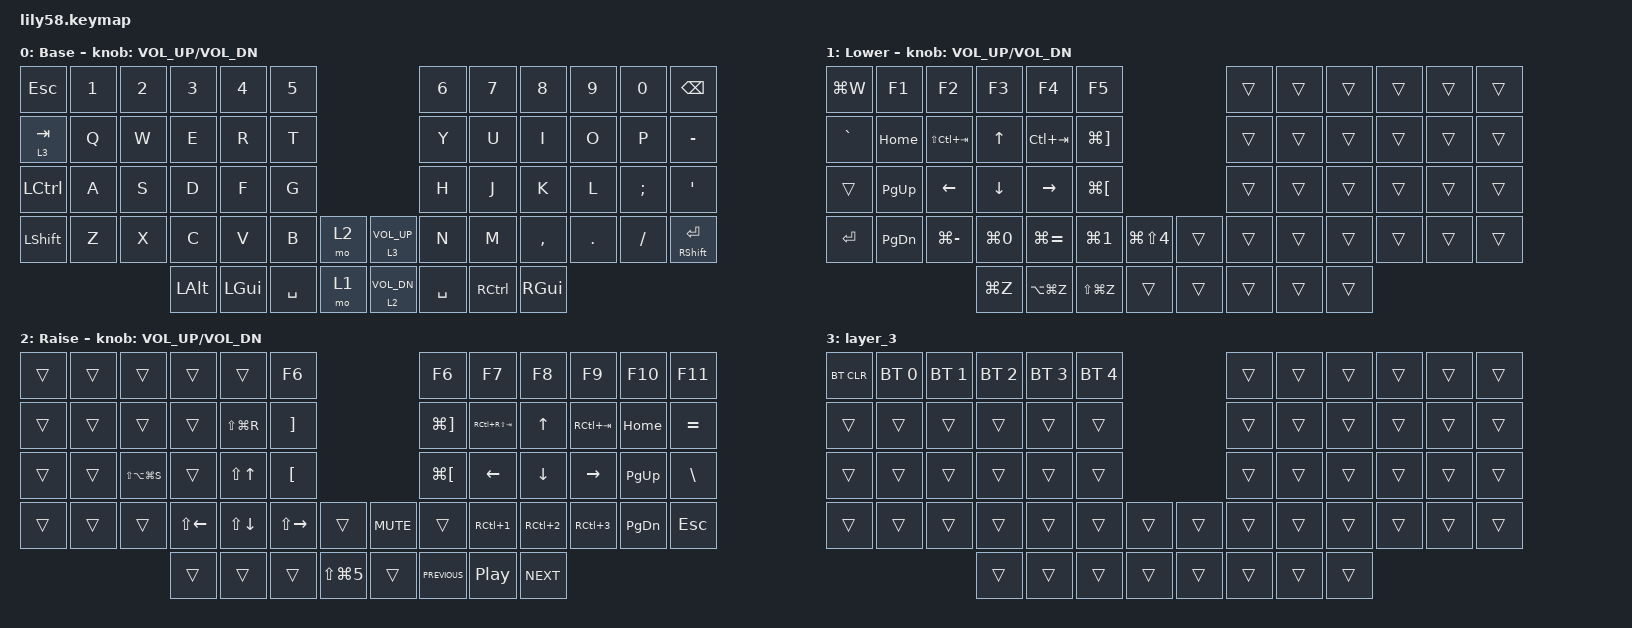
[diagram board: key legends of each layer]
/*
 * Copyright (c) 2020 The ZMK Contributors
 *
 * SPDX-License-Identifier: MIT
 */

#include <behaviors.dtsi>
#include <dt-bindings/zmk/bt.h>
#include <dt-bindings/zmk/keys.h>

/ {
    keymap {
        compatible = "zmk,keymap";

        default_layer {
            // ------------------------------------------------------------------------------------------------------------
            // |  ESC  |  1  |  2  |  3   |  4   |  5   |                   |  6   |  7    |  8    |  9   |   0   |   `   |
            // |  TAB  |  Q  |  W  |  E   |  R   |  T   |                   |  Y   |  U    |  I    |  O   |   P   |   -   |
            // |  CTRL |  A  |  S  |  D   |  F   |  G   |                   |  H   |  J    |  K    |  L   |   ;   |   '   |
            // | SHIFT |  Z  |  X  |  C   |  V   |  B   |   "["  |  |  "]"  |  N   |  M    |  ,    |  .   |   /   | SHIFT |
            //                     | ALT  | GUI  | LOWER|  SPACE |  | ENTER | RAISE| BSPC  | GUI   |

            display-name = "Base";
            bindings = <
&kp ESC         &kp N1  &kp N2  &kp N3    &kp N4    &kp N5                              &kp N6     &kp N7     &kp N8     &kp N9   &kp N0    &kp BACKSPACE
&lt 3 TAB       &kp Q   &kp W   &kp E     &kp R     &kp T                               &kp Y      &kp U      &kp I      &kp O    &kp P     &kp MINUS
&kp LCTRL       &kp A   &kp S   &kp D     &kp F     &kp G                               &kp H      &kp J      &kp K      &kp L    &kp SEMI  &kp SQT
&kp LEFT_SHIFT  &kp Z   &kp X   &kp C     &kp V     &kp B      &mo 2    &lt 3 C_VOL_UP  &kp N      &kp M      &kp COMMA  &kp DOT  &kp FSLH  &mt RIGHT_SHIFT ENTER
                                &kp LALT  &kp LGUI  &kp SPACE  &mo 1    &lt 2 C_VOL_DN  &kp SPACE  &kp RCTRL  &kp RGUI
            >;

            sensor-bindings = <&inc_dec_kp C_VOL_UP C_VOL_DN>;
        };

        lower_layer {
            // ------------------------------------------------------------------------------------------------------------
            // | BTCLR | BT1 | BT2 |  BT3 |  BT4 |  BT5 |                   |      |       |       |      |       |       |
            // |  F1   |  F2 |  F3 |  F4  |  F5  |  F6  |                   |  F7  |  F8   |  F9   |  F10 |  F11  |  F12  |
            // |   `   |  !  |  @  |  #   |  $   |  %   |                   |  ^   |  &    |  *    |  (   |   )   |   ~   |
            // |       |     |     |      |      |      |        |  |       |      |  _    |  +    |  {   |   }   |  "|"  |
            //                     |      |      |      |        |  |       |      |       |       |

            display-name = "Lower";
            bindings = <
&kp LG(W)  &kp F1         &kp F2           &kp F3            &kp F4         &kp F5                                                 &trans  &trans  &trans  &trans  &trans  &trans
&kp GRAVE  &kp HOME       &kp LS(LC(TAB))  &kp UP            &kp LC(TAB)    &kp LG(RIGHT_BRACKET)                                  &trans  &trans  &trans  &trans  &trans  &trans
&trans     &kp PAGE_UP    &kp LEFT         &kp DOWN          &kp RIGHT      &kp LG(LEFT_BRACKET)                                   &trans  &trans  &trans  &trans  &trans  &trans
&kp ENTER  &kp PAGE_DOWN  &kp LG(MINUS)    &kp LG(NUMBER_0)  &kp LG(EQUAL)  &kp LG(NUMBER_1)       &kp LG(LS(NUMBER_4))    &trans  &trans  &trans  &trans  &trans  &trans  &trans
                                           &kp LG(Z)         &kp LA(LG(Z))  &kp LS(LG(Z))          &trans                  &trans  &trans  &trans  &trans
            >;

            sensor-bindings = <&inc_dec_kp C_VOL_UP C_VOL_DN>;
        };

        raise_layer {
            // ------------------------------------------------------------------------------------------------------------
            // |       |     |     |      |      |      |                   |      |       |       |      |       |       |
            // |   `   |  1  |  2  |  3   |  4   |  5   |                   |  6   |   7   |   8   |  9   |   0   |       |
            // |   F1  |  F2 |  F3 |  F4  |  F5  |  F6  |                   |      |   <-  |   v   |  ^   |  ->   |       |
            // |   F7  |  F8 |  F9 |  F10 |  F11 |  F12 |        |  |       |  +   |   -   |   =   |  [   |   ]   |   \   |
            //                     |      |      |      |        |  |       |      |       |       |

            display-name = "Raise";
            bindings = <
&trans  &trans  &trans             &trans        &trans         &kp F6                                           &kp F6                 &kp F7            &kp F8            &kp F9            &kp F10    &kp F11
&trans  &trans  &trans             &trans        &kp LS(LG(R))  &kp RIGHT_BRACKET                                &kp LG(RIGHT_BRACKET)  &kp RC(RS(TAB))   &kp UP            &kp RC(TAB)       &kp HOME   &kp EQUAL
&trans  &trans  &kp LS(LA(LG(S)))  &trans        &kp LS(UP)     &kp LEFT_BRACKET                                 &kp LG(LEFT_BRACKET)   &kp LEFT          &kp DOWN          &kp RIGHT         &kp PG_UP  &kp BACKSLASH
&trans  &trans  &trans             &kp LS(LEFT)  &kp LS(DOWN)   &kp LS(RIGHT)      &trans            &kp C_MUTE  &trans                 &kp RC(NUMBER_1)  &kp RC(NUMBER_2)  &kp RC(NUMBER_3)  &kp PG_DN  &kp ESCAPE
                                   &trans        &trans         &trans             &kp LS(LG(N5))    &trans      &kp C_PREVIOUS         &kp C_PLAY_PAUSE  &kp C_NEXT
            >;

            sensor-bindings = <&inc_dec_kp C_VOL_UP C_VOL_DN>;
        };

        layer_3 {
            bindings = <
&bt BT_CLR  &bt BT_SEL 0  &bt BT_SEL 1  &bt BT_SEL 2  &bt BT_SEL 3  &bt BT_SEL 4                    &trans  &trans  &trans  &trans  &trans  &trans
&trans      &trans        &trans        &trans        &trans        &trans                          &trans  &trans  &trans  &trans  &trans  &trans
&trans      &trans        &trans        &trans        &trans        &trans                          &trans  &trans  &trans  &trans  &trans  &trans
&trans      &trans        &trans        &trans        &trans        &trans        &trans    &trans  &trans  &trans  &trans  &trans  &trans  &trans
                                        &trans        &trans        &trans        &trans    &trans  &trans  &trans  &trans
            >;
        };
    };
};
